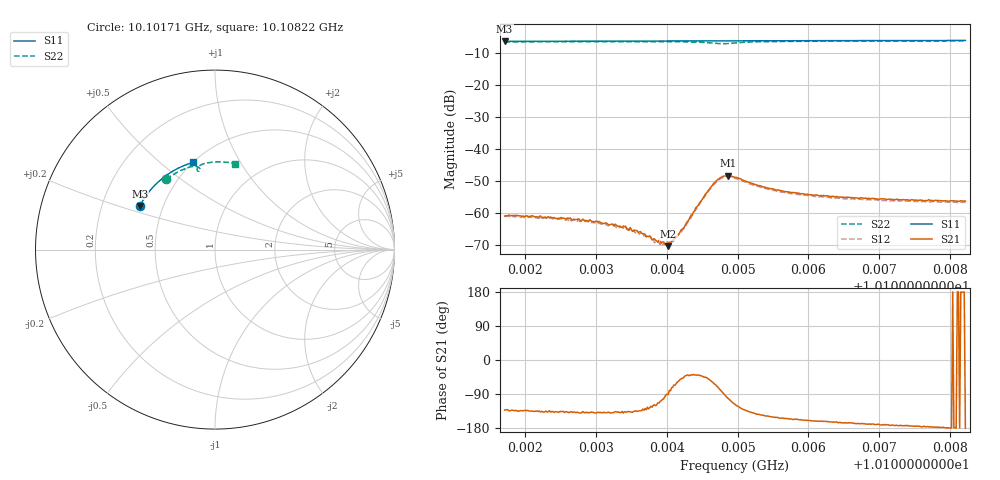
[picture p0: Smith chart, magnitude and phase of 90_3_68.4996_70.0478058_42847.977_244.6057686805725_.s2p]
#  HZ  S  RI  R  50.00
! Rohde & Schwarz Vector Network Analyzer
! Rohde-Schwarz,ZNB20-2Port,1311601062101988,3.16
! Created: UTC 3/20/2024, 5:07:46 PM
! freq[Hz]  re:S11  im:S11  re:S21  im:S21  re:S12  im:S12  re:S22  im:S22
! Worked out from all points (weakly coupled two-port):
!   401 points, 10.10171 GHz to 10.10822 GHz, reference 50 ohm
!   highest |S21| = -48.22 dB at 10.10487 GHz (marker M1); lowest = -70.3 dB at 10.10402 GHz (marker M2)
!   lowest |S11| = -6.3 dB at 10.10171 GHz (marker M3), VSWR 2.88, Z = 18.5 + j11.7 ohm
!   |S11| at or under -10 dB: nowhere
!   |S22| runs from -7.0 to -6.1 dB; largest |S21 - S12| = 0.00039
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1.0101709e10  -0.4189 0.2424  -0.000604 -0.00067  -0.000555 -0.000729  -0.271 0.3917
1.01021e10  -0.4077 0.2632  -0.000642 -0.000652  -0.000551 -0.000663  -0.2505 0.4066
1.0102799e10  -0.3848 0.2991  -0.000579 -0.00051  -0.000522 -0.000545  -0.2112 0.4303
1.0103255e10  -0.3681 0.3214  -0.000478 -0.000422  -0.000425 -0.000469  -0.1838 0.4438
1.0103434e10  -0.3614 0.3298  -0.000416 -0.000381  -0.000391 -0.000436  -0.1727 0.4486
1.0103646e10  -0.353 0.3396  -0.000335 -0.000353  -0.000287 -0.000374  -0.1588 0.4539
1.0103776e10  -0.3478 0.3453  -0.000222 -0.000355  -0.000202 -0.000359  -0.1501 0.4568
1.0103825e10  -0.346 0.3476  -0.000188 -0.000352  -0.000136 -0.00032  -0.1468 0.4579
1.010389e10  -0.3432 0.3505  -0.00015 -0.000345  -0.000103 -0.000335  -0.1421 0.4593
1.0103938e10  -0.341 0.3526  -8.68e-05 -0.000344  -6.35e-05 -0.000318  -0.1386 0.4601
1.010402e10  -0.3376 0.3563  -6.96e-06 -0.000305  5.75e-05 -0.000329  -0.1325 0.4616
1.0104085e10  -0.3349 0.3591  0.000118 -0.000356  0.000141 -0.000328  -0.1274 0.4624
1.0104231e10  -0.3286 0.3654  0.000388 -0.000425  0.000419 -0.000382  -0.1157 0.4639
1.0104492e10  -0.317 0.3763  0.00118 -0.00106  0.00124 -0.00095  -0.0921 0.4592
1.0104654e10  -0.3098 0.3828  0.00143 -0.00246  0.00157 -0.00222  -0.0822 0.446
1.0104752e10  -0.3053 0.3865  0.000716 -0.00349  0.000994 -0.00325  -0.0862 0.4371
1.0104866e10  -0.3002 0.3911  -0.000751 -0.00381  -0.000404 -0.00368  -0.0965 0.4385
1.0104964e10  -0.2956 0.3947  -0.00166 -0.00322  -0.00133 -0.00325  -0.0999 0.4475
1.0105452e10  -0.2724 0.4129  -0.0021 -0.00125  -0.0019 -0.00138  -0.0695 0.4759
1.0106054e10  -0.2421 0.4331  -0.00182 -0.000641  -0.00169 -0.000803  -0.027 0.4854
1.0107144e10  -0.1834 0.4635  -0.00164 -0.000211  -0.0015 -0.000361  0.0452 0.4879
1.0108218e10  -0.1223 0.4854  -0.00155 -3.85e-06  -0.00146 -0.000104  0.1139 0.4793
